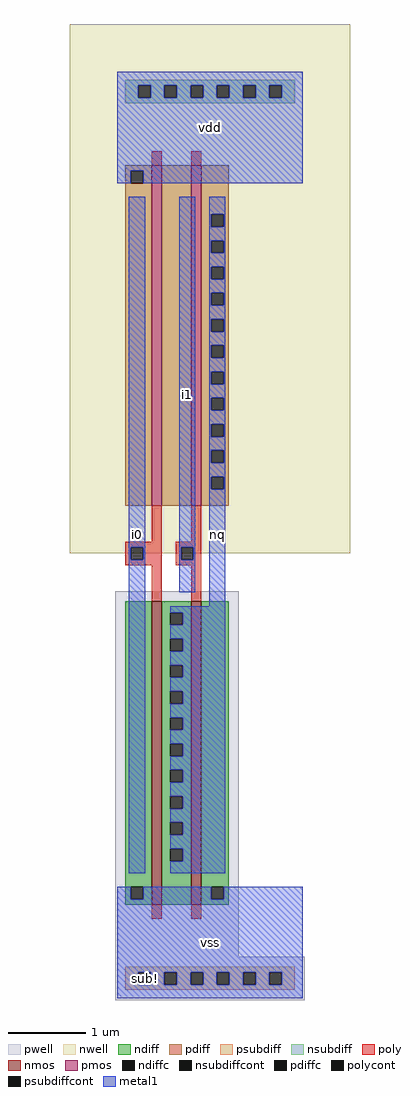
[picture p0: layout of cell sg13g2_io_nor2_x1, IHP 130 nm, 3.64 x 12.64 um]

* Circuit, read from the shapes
.subckt sg13g2_io_nor2_x1 vdd vss nq i0 i1
XM1 nq i0 vss vss sg13_lv_nmos w=3.93u l=0.13u
XM2 vss i1 nq vss sg13_lv_nmos w=3.93u l=0.13u
XM3 n1 i0 vdd vdd sg13_lv_pmos w=4.41u l=0.13u
XM4 nq i1 n1 vdd sg13_lv_pmos w=4.41u l=0.13u
.ends

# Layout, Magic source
magic
tech ihp-sg13g2
magscale 1 2
<< nwell >>
rect -124 1152 604 2524
<< pwell >>
rect -5 107 315 1054
rect -5 -5 485 107
<< nmos >>
rect 89 242 115 1028
rect 191 242 217 1028
<< pmos >>
rect 89 1276 115 2158
rect 191 1276 217 2158
<< ndiff >>
rect 21 288 89 1028
rect 21 256 35 288
rect 67 256 89 288
rect 21 242 89 256
rect 115 999 191 1028
rect 115 967 137 999
rect 169 967 191 999
rect 115 931 191 967
rect 115 899 137 931
rect 169 899 191 931
rect 115 863 191 899
rect 115 831 137 863
rect 169 831 191 863
rect 115 795 191 831
rect 115 763 137 795
rect 169 763 191 795
rect 115 727 191 763
rect 115 695 137 727
rect 169 695 191 727
rect 115 659 191 695
rect 115 627 137 659
rect 169 627 191 659
rect 115 591 191 627
rect 115 559 137 591
rect 169 559 191 591
rect 115 523 191 559
rect 115 491 137 523
rect 169 491 191 523
rect 115 455 191 491
rect 115 423 137 455
rect 169 423 191 455
rect 115 387 191 423
rect 115 355 137 387
rect 169 355 191 387
rect 115 242 191 355
rect 217 288 289 1028
rect 217 256 243 288
rect 275 256 289 288
rect 217 242 289 256
<< pdiff >>
rect 21 2144 89 2158
rect 21 2112 35 2144
rect 67 2112 89 2144
rect 21 1276 89 2112
rect 115 1276 191 2158
rect 217 2031 289 2158
rect 217 1999 243 2031
rect 275 1999 289 2031
rect 217 1963 289 1999
rect 217 1931 243 1963
rect 275 1931 289 1963
rect 217 1895 289 1931
rect 217 1863 243 1895
rect 275 1863 289 1895
rect 217 1827 289 1863
rect 217 1795 243 1827
rect 275 1795 289 1827
rect 217 1759 289 1795
rect 217 1727 243 1759
rect 275 1727 289 1759
rect 217 1691 289 1727
rect 217 1659 243 1691
rect 275 1659 289 1691
rect 217 1623 289 1659
rect 217 1591 243 1623
rect 275 1591 289 1623
rect 217 1555 289 1591
rect 217 1523 243 1555
rect 275 1523 289 1555
rect 217 1487 289 1523
rect 217 1455 243 1487
rect 275 1455 289 1487
rect 217 1419 289 1455
rect 217 1387 243 1419
rect 275 1387 289 1419
rect 217 1351 289 1387
rect 217 1319 243 1351
rect 275 1319 289 1351
rect 217 1276 289 1319
<< ndiffc >>
rect 35 256 67 288
rect 137 967 169 999
rect 137 899 169 931
rect 137 831 169 863
rect 137 763 169 795
rect 137 695 169 727
rect 137 627 169 659
rect 137 559 169 591
rect 137 491 169 523
rect 137 423 169 455
rect 137 355 169 387
rect 243 256 275 288
<< pdiffc >>
rect 35 2112 67 2144
rect 243 1999 275 2031
rect 243 1931 275 1963
rect 243 1863 275 1895
rect 243 1795 275 1827
rect 243 1727 275 1759
rect 243 1659 275 1691
rect 243 1591 275 1623
rect 243 1523 275 1555
rect 243 1455 275 1487
rect 243 1387 275 1419
rect 243 1319 275 1351
<< psubdiff >>
rect 21 67 459 81
rect 21 35 54 67
rect 86 35 122 67
rect 154 35 190 67
rect 222 35 258 67
rect 290 35 326 67
rect 358 35 394 67
rect 426 35 459 67
rect 21 21 459 35
<< nsubdiff >>
rect 21 2365 459 2379
rect 21 2333 54 2365
rect 86 2333 122 2365
rect 154 2333 190 2365
rect 222 2333 258 2365
rect 290 2333 326 2365
rect 358 2333 394 2365
rect 426 2333 459 2365
rect 21 2319 459 2333
<< psubdiffcont >>
rect 54 35 86 67
rect 122 35 154 67
rect 190 35 222 67
rect 258 35 290 67
rect 326 35 358 67
rect 394 35 426 67
<< nsubdiffcont >>
rect 54 2333 86 2365
rect 122 2333 154 2365
rect 190 2333 222 2365
rect 258 2333 290 2365
rect 326 2333 358 2365
rect 394 2333 426 2365
<< poly >>
rect 89 2158 115 2194
rect 191 2158 217 2194
rect 89 1182 115 1276
rect 191 1182 217 1276
rect 21 1168 115 1182
rect 21 1136 35 1168
rect 67 1136 115 1168
rect 21 1122 115 1136
rect 151 1168 217 1182
rect 151 1136 165 1168
rect 197 1136 217 1168
rect 151 1122 217 1136
rect 89 1028 115 1122
rect 191 1028 217 1122
rect 89 206 115 242
rect 191 206 217 242
<< polycont >>
rect 35 1136 67 1168
rect 165 1136 197 1168
<< metal1 >>
rect 0 2365 480 2400
rect 0 2333 54 2365
rect 86 2333 122 2365
rect 154 2333 190 2365
rect 222 2333 258 2365
rect 290 2333 326 2365
rect 358 2333 394 2365
rect 426 2333 480 2365
rect 0 2144 480 2333
rect 0 2112 35 2144
rect 67 2112 480 2144
rect 30 1168 72 2076
rect 30 1136 35 1168
rect 67 1136 72 1168
rect 30 324 72 1136
rect 160 1168 202 2076
rect 160 1136 165 1168
rect 197 1136 202 1168
rect 160 1051 202 1136
rect 238 2031 280 2076
rect 238 1999 243 2031
rect 275 1999 280 2031
rect 238 1963 280 1999
rect 238 1931 243 1963
rect 275 1931 280 1963
rect 238 1895 280 1931
rect 238 1863 243 1895
rect 275 1863 280 1895
rect 238 1827 280 1863
rect 238 1795 243 1827
rect 275 1795 280 1827
rect 238 1759 280 1795
rect 238 1727 243 1759
rect 275 1727 280 1759
rect 238 1691 280 1727
rect 238 1659 243 1691
rect 275 1659 280 1691
rect 238 1623 280 1659
rect 238 1591 243 1623
rect 275 1591 280 1623
rect 238 1555 280 1591
rect 238 1523 243 1555
rect 275 1523 280 1555
rect 238 1487 280 1523
rect 238 1455 243 1487
rect 275 1455 280 1487
rect 238 1419 280 1455
rect 238 1387 243 1419
rect 275 1387 280 1419
rect 238 1351 280 1387
rect 238 1319 243 1351
rect 275 1319 280 1351
rect 238 1015 280 1319
rect 137 999 280 1015
rect 169 967 280 999
rect 137 931 280 967
rect 169 899 280 931
rect 137 863 280 899
rect 169 831 280 863
rect 137 795 280 831
rect 169 763 280 795
rect 137 727 280 763
rect 169 695 280 727
rect 137 659 280 695
rect 169 627 280 659
rect 137 591 280 627
rect 169 559 280 591
rect 137 523 280 559
rect 169 491 280 523
rect 137 455 280 491
rect 169 423 280 455
rect 137 387 280 423
rect 169 355 280 387
rect 137 324 280 355
rect 0 256 35 288
rect 67 256 243 288
rect 275 256 480 288
rect 0 67 480 256
rect 0 35 54 67
rect 86 35 122 67
rect 154 35 190 67
rect 222 35 258 67
rect 290 35 326 67
rect 358 35 394 67
rect 426 35 480 67
rect 0 0 480 35
<< labels >>
flabel metal1 s 160 1051 202 2076 0 FreeSans 800 0 0 0 i1
port 5 nsew
flabel metal1 s 238 324 280 2076 0 FreeSans 800 0 0 0 nq
port 3 nsew
rlabel metal1 s 30 324 72 2076 4 i0
port 4 nsew
rlabel metal1 s 0 2112 480 2400 4 vdd
port 1 nsew
rlabel metal1 s 0 0 480 288 4 vss
port 2 nsew
flabel comment s 74 52 74 52 0 FreeSans 1600 0 0 0 sub!
<< properties >>
string device primitive
string GDS_END 22701262
string GDS_FILE sg13g2_io.gds
string GDS_START 22697160
<< end >>
